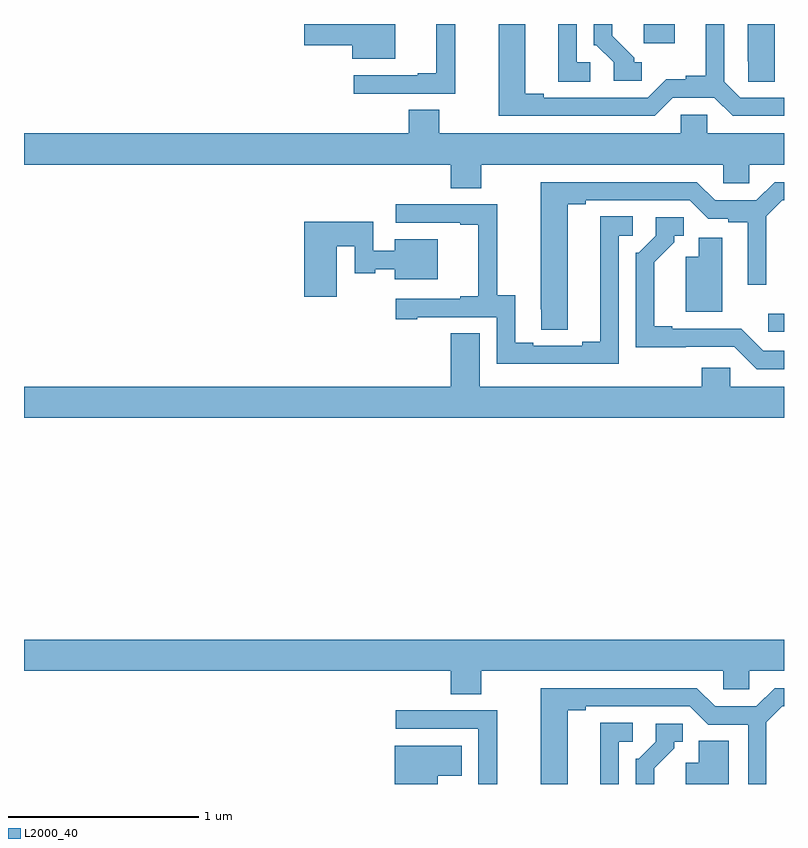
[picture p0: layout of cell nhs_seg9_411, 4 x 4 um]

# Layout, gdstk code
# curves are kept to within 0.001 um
import gdstk
lib = gdstk.Library(unit=1e-6, precision=1e-09)
def R(c, l, rs):  # rectangles x0, y0, x1, y1
    for r in rs: c.add(gdstk.rectangle(r[:2], r[2:], *l))
def P(c, l, *ps):  # polygons
    for p in ps: c.add(gdstk.Polygon(p, *l))
L2000_40 = (2000, 40)

nhs_seg9_411 = lib.new_cell('nhs_seg9_411')
R(nhs_seg9_411, L2000_40, [(134.916,1188.879,135,1188.976), (134.261,1190.4,134.425,1190.5)])
P(nhs_seg9_411, L2000_40, [(134.415,1190.112),(134.633,1190.112),(134.729,1190.016),(135,1190.016),(135,1190.112),(134.769,1190.112),(134.685,1190.196),(134.685,1190.5),(134.588,1190.5),(134.588,1190.228),(134.484,1190.228),(134.484,1190.21),(134.381,1190.21),(134.283,1190.112),(133.735,1190.112),(133.735,1190.132),(133.639,1190.132),(133.639,1190.5),(133.499,1190.5),(133.499,1190.016),(134.319,1190.016)],
  [(133.981,1190.298),(133.908,1190.298),(133.908,1190.5),(133.811,1190.5),(133.811,1190.197),(133.981,1190.197)],
  [(133.269,1190.5),(133.169,1190.5),(133.169,1190.242),(133.073,1190.242),(133.073,1190.229),(132.735,1190.229),(132.735,1190.133),(133.269,1190.133)],
  [(132.955,1190.5),(132.476,1190.5),(132.476,1190.387),(132.728,1190.387),(132.728,1190.318),(132.955,1190.318)],
  [(134.251,1190.298),(134.212,1190.298),(134.212,1190.322),(134.095,1190.438),(134.095,1190.5),(133.998,1190.5),(133.998,1190.388),(134.013,1190.388),(134.103,1190.298),(134.103,1190.202),(134.251,1190.202)],
  [(134.95,1190.5),(134.81,1190.5),(134.81,1190.305),(134.811,1190.305),(134.811,1190.197),(134.95,1190.197)],
  [(133.407,1189.76),(134.679,1189.76),(134.679,1189.662),(134.817,1189.662),(134.817,1189.76),(135,1189.76),(135,1189.924),(134.595,1189.924),(134.595,1190.022),(134.457,1190.022),(134.457,1189.924),(133.185,1189.924),(133.185,1190.048),(133.025,1190.048),(133.025,1189.924),(131,1189.924),(131,1189.76),(133.247,1189.76),(133.247,1189.636),(133.407,1189.636)],
  [(133.861,1189.552),(133.957,1189.552),(133.957,1189.572),(134.505,1189.572),(134.601,1189.476),(134.706,1189.476),(134.706,1189.456),(134.81,1189.456),(134.81,1189.128),(134.907,1189.128),(134.907,1189.488),(134.991,1189.572),(135,1189.572),(135,1189.668),(134.951,1189.668),(134.855,1189.572),(134.637,1189.572),(134.541,1189.668),(133.721,1189.668),(133.722,1188.892),(133.861,1188.892)],
  [(134.13,1189.386),(134.203,1189.386),(134.203,1189.487),(134.033,1189.487),(134.033,1188.827),(133.937,1188.827),(133.937,1188.807),(133.681,1188.807),(133.681,1188.822),(133.585,1188.822),(133.585,1189.073),(133.491,1189.073),(133.491,1189.551),(132.957,1189.551),(132.957,1189.455),(133.295,1189.455),(133.295,1189.443),(133.391,1189.443),(133.391,1189.066),(133.295,1189.066),(133.295,1189.053),(132.957,1189.053),(132.957,1188.945),(133.069,1188.945),(133.069,1188.957),(133.488,1188.957),(133.488,1188.711),(134.13,1188.711)],
  [(135,1188.78),(134.892,1188.78),(134.775,1188.897),(134.413,1188.897),(134.413,1188.91),(134.317,1188.91),(134.317,1189.246),(134.422,1189.351),(134.422,1189.386),(134.472,1189.386),(134.472,1189.482),(134.325,1189.482),(134.325,1189.386),(134.235,1189.296),(134.22,1189.296),(134.22,1188.8),(134.739,1188.801),(134.856,1188.684),(135,1188.684)],
  [(132.646,1189.33),(132.741,1189.33),(132.741,1189.189),(132.849,1189.189),(132.849,1189.208),(132.95,1189.208),(132.95,1189.157),(133.177,1189.157),(133.177,1189.366),(132.95,1189.366),(132.95,1189.306),(132.837,1189.306),(132.837,1189.459),(132.476,1189.459),(132.476,1189.065),(132.646,1189.065)],
  [(134.674,1189.374),(134.552,1189.374),(134.552,1189.276),(134.483,1189.276),(134.483,1188.986),(134.674,1188.986)],
  [(135,1188.592),(134.718,1188.592),(134.718,1188.69),(134.567,1188.69),(134.567,1188.592),(133.399,1188.592),(133.399,1188.872),(133.247,1188.872),(133.247,1188.592),(131,1188.592),(131,1188.428),(135,1188.428)],
  [(133.407,1187.096),(134.679,1187.096),(134.679,1186.998),(134.817,1186.998),(134.817,1187.096),(135,1187.096),(135,1187.26),(131,1187.26),(131,1187.096),(133.247,1187.096),(133.247,1186.972),(133.407,1186.972)],
  [(133.861,1186.888),(133.957,1186.888),(133.957,1186.908),(134.505,1186.908),(134.601,1186.812),(134.811,1186.812),(134.811,1186.5),(134.907,1186.5),(134.907,1186.824),(134.991,1186.908),(135,1186.908),(135,1187.004),(134.951,1187.004),(134.855,1186.908),(134.637,1186.908),(134.541,1187.004),(133.721,1187.004),(133.721,1186.5),(133.861,1186.5)],
  [(133.491,1186.887),(132.957,1186.887),(132.957,1186.791),(133.392,1186.791),(133.392,1186.5),(133.491,1186.5)],
  [(134.13,1186.722),(134.203,1186.722),(134.203,1186.823),(134.033,1186.823),(134.033,1186.5),(134.13,1186.5)],
  [(134.317,1186.582),(134.422,1186.687),(134.422,1186.722),(134.467,1186.722),(134.467,1186.818),(134.325,1186.818),(134.325,1186.722),(134.235,1186.632),(134.22,1186.632),(134.22,1186.5),(134.317,1186.5)],
  [(134.71,1186.727),(134.552,1186.727),(134.552,1186.612),(134.483,1186.612),(134.483,1186.5),(134.71,1186.5)],
  [(133.177,1186.544),(133.303,1186.544),(133.303,1186.702),(132.95,1186.702),(132.95,1186.5),(133.177,1186.5)])

lib.write_gds('nhs_seg9_411.gds')
